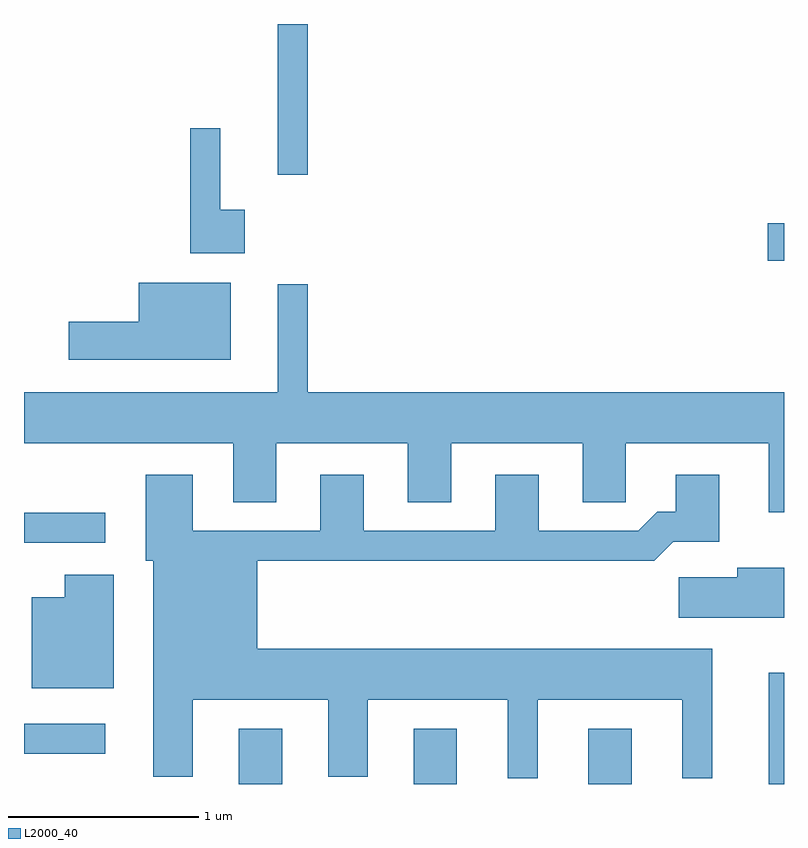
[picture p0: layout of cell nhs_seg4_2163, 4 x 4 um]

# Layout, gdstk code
import gdstk
lib = gdstk.Library(unit=1e-6, precision=1e-09)
def R(c, l, rs):  # rectangles x0, y0, x1, y1
    for r in rs: c.add(gdstk.rectangle(r[:2], r[2:], *l))
def A(c, l, x, y, w, h, nx, ny, dx, dy):  # array of equal rectangles
    R(c, l, [(x+i*dx, y+j*dy, x+i*dx+w, y+j*dy+h) for i in range(nx) for j in range(ny)])
def P(c, l, *ps):  # polygons
    for p in ps: c.add(gdstk.Polygon(p, *l))
L2000_40 = (2000, 40)

nhs_seg4_2163 = lib.new_cell('nhs_seg4_2163')
A(nhs_seg4_2163, L2000_40, 248.741, 1363.982, 0.228, 0.292, 3, 1, 0.92, 0)
R(nhs_seg4_2163, L2000_40, [(251.531,1363.982,251.611,1364.568), (247.611,1364.141,248.038,1364.299), (247.611,1365.251,248.038,1365.409), (251.526,1366.736,251.611,1366.934), (248.946,1367.188,249.104,1367.982)])
P(nhs_seg4_2163, L2000_40, [(248.774,1367.004),(248.644,1367.004),(248.644,1367.433),(248.486,1367.433),(248.486,1366.776),(248.774,1366.776)],
  [(248.699,1366.619),(248.216,1366.619),(248.216,1366.414),(247.846,1366.414),(247.846,1366.216),(248.699,1366.216)],
  [(251.611,1366.044),(249.104,1366.044),(249.104,1366.613),(248.946,1366.613),(248.946,1366.044),(247.611,1366.044),(247.611,1365.776),(248.711,1365.776),(248.711,1365.466),(248.939,1365.466),(248.939,1365.776),(249.631,1365.776),(249.631,1365.466),(249.859,1365.466),(249.859,1365.776),(250.551,1365.776),(250.551,1365.466),(250.779,1365.466),(250.779,1365.776),(251.531,1365.776),(251.531,1365.413),(251.611,1365.413)],
  [(250.314,1364.426),(251.076,1364.426),(251.076,1364.013),(251.234,1364.013),(251.234,1364.694),(248.839,1364.694),(248.839,1365.156),(250.927,1365.156),(251.027,1365.256),(251.269,1365.256),(251.269,1365.609),(251.041,1365.609),(251.041,1365.414),(250.944,1365.414),(250.844,1365.314),(250.319,1365.314),(250.319,1365.609),(250.091,1365.609),(250.091,1365.314),(249.399,1365.314),(249.399,1365.609),(249.171,1365.609),(249.171,1365.314),(248.499,1365.314),(248.499,1365.609),(248.251,1365.609),(248.251,1365.156),(248.291,1365.156),(248.291,1364.021),(248.499,1364.021),(248.499,1364.426),(249.211,1364.426),(249.211,1364.021),(249.419,1364.021),(249.419,1364.426),(250.156,1364.426),(250.156,1364.013),(250.314,1364.013)],
  [(251.611,1365.119),(251.366,1365.119),(251.366,1365.069),(251.056,1365.069),(251.056,1364.856),(251.611,1364.856)],
  [(248.084,1365.084),(247.826,1365.084),(247.826,1364.964),(247.651,1364.964),(247.651,1364.486),(248.084,1364.486)])

lib.write_gds('nhs_seg4_2163.gds')
